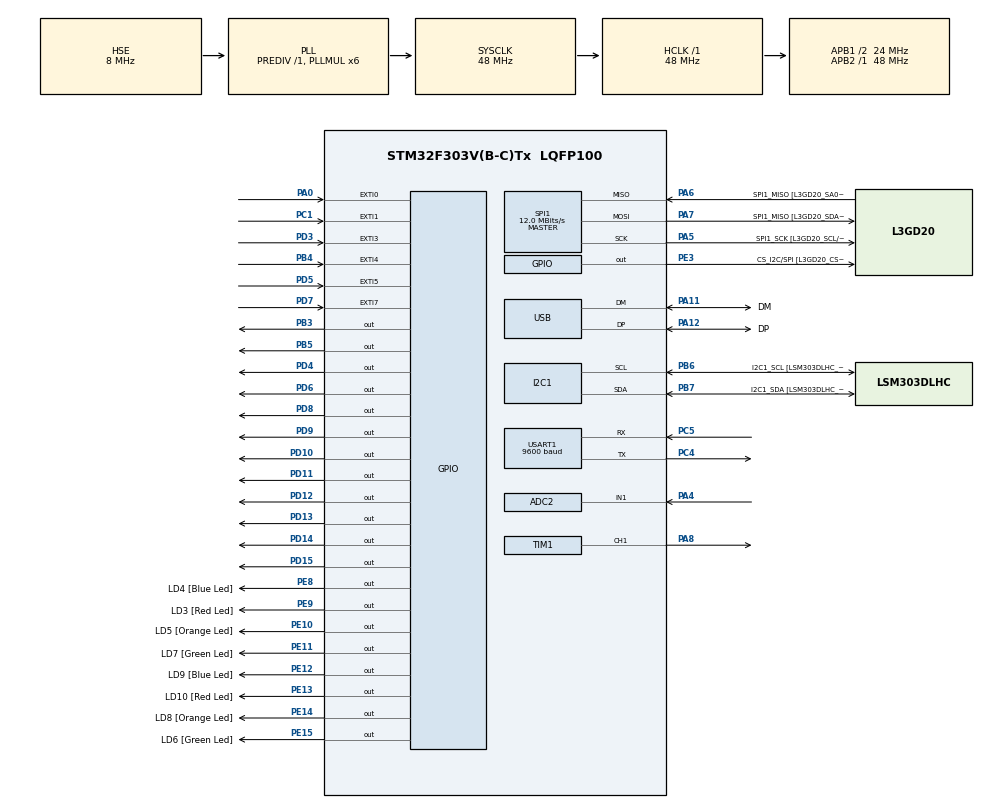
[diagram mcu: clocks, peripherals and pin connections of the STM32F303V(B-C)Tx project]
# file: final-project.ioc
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ADC2.Channel-0\#ChannelRegularConversion=ADC_CHANNEL_1
ADC2.NbrOfConversionFlag=1
ADC2.Offset-0\#ChannelRegularConversion=0
ADC2.OffsetNumber-0\#ChannelRegularConversion=ADC_OFFSET_NONE
ADC2.Rank-0\#ChannelRegularConversion=1
ADC2.SamplingTime-0\#ChannelRegularConversion=ADC_SAMPLETIME_601CYCLES_5
ADC2.SamplingTimeOPAMP-0\#ChannelRegularConversion=ADC_SAMPLETIME_19CYCLES_5
FREERTOS.Tasks01=task_temp,24,128,StartDefaultTask,Default,NULL,Dynamic,NULL,NULL;task_keypad,24,128,StartTask02,Default,NULL,Dynamic,NULL,NULL;task_on,40,128,StartTask03,Default,NULL,Dynamic,NULL,NULL;task_off,32,128,StartTask04,Default,NULL,Dynamic,NULL,NULL;task_sec,32,128,StartTask05,Default,NULL,Dynamic,NULL,NULL
FREERTOS.configTOTAL_HEAP_SIZE=4072
FREERTOS.configUSE_PREEMPTION=1
I2C1.Timing=0x2000090E
I2C1.Timing-I2C=0x2000090E
Mcu.Family=STM32F3
Mcu.Name=STM32F303V(B-C)Tx
Mcu.Package=LQFP100
NVIC.ADC1_2_IRQn=true\:5\:0\:false\:false\:true\:true\:true\:true\:true
NVIC.EXTI0_IRQn=true\:5\:0\:false\:false\:true\:true\:true\:true\:true
NVIC.EXTI1_IRQn=true\:5\:0\:false\:false\:true\:true\:true\:true\:true
NVIC.EXTI3_IRQn=true\:5\:0\:false\:false\:true\:true\:true\:true\:true
NVIC.EXTI4_IRQn=true\:5\:0\:false\:false\:true\:true\:true\:true\:true
NVIC.EXTI9_5_IRQn=true\:5\:0\:false\:false\:true\:true\:true\:true\:true
NVIC.PriorityGroup=NVIC_PRIORITYGROUP_4
NVIC.TIM6_DAC_IRQn=true\:15\:0\:false\:false\:true\:false\:false\:true\:true
NVIC.TimeBase=TIM6_DAC_IRQn
NVIC.TimeBaseIP=TIM6
NVIC.USART1_IRQn=true\:5\:0\:false\:false\:true\:true\:true\:true\:true
PA0.Signal=GPXTI0
PA11.GPIO_Label=DM
PA11.Mode=Device
PA11.Signal=USB_DM
PA12.GPIO_Label=DP
PA12.Mode=Device
PA12.Signal=USB_DP
PA13.GPIO_Label=SWDIO
PA13.Mode=Serial_Wire
PA13.Signal=SYS_JTMS-SWDIO
PA14.GPIO_Label=SWCLK
PA14.Mode=Serial_Wire
PA14.Signal=SYS_JTCK-SWCLK
PA4.Mode=IN1-Single-Ended
PA4.Signal=ADC2_IN1
PA5.GPIO_Label=SPI1_SCK [L3GD20_SCL/SPC]
PA5.Mode=Full_Duplex_Master
PA5.Signal=SPI1_SCK
PA6.GPIO_Label=SPI1_MISO [L3GD20_SA0/SDO]
PA6.Mode=Full_Duplex_Master
PA6.Signal=SPI1_MISO
PA7.GPIO_Label=SPI1_MISO [L3GD20_SDA/SDI/SDO]
PA7.Mode=Full_Duplex_Master
PA7.Signal=SPI1_MOSI
PA8.Signal=S_TIM1_CH1
PB3.PinState=GPIO_PIN_SET
PB3.Signal=GPIO_Output
PB4.GPIO_PuPd=GPIO_PULLDOWN
PB4.Signal=GPXTI4
PB5.PinState=GPIO_PIN_SET
PB5.Signal=GPIO_Output
PB6.GPIO_Label=I2C1_SCL [LSM303DLHC_SCL]
PB6.GPIO_Pu=GPIO_PULLUP
PB6.Mode=I2C
PB6.Signal=I2C1_SCL
PB7.GPIO_Label=I2C1_SDA [LSM303DLHC_SDA]
PB7.GPIO_Pu=GPIO_PULLUP
PB7.Mode=I2C
PB7.Signal=I2C1_SDA
PC1.Signal=GPXTI1
PC14-OSC32_IN.GPIO_Label=OSC32_IN
PC14-OSC32_IN.Signal=RCC_OSC32_IN
PC15-OSC32_OUT.GPIO_Label=OSC32_OUT
PC15-OSC32_OUT.Signal=RCC_OSC32_OUT
PC4.Mode=Asynchronous
PC4.Signal=USART1_TX
PC5.Mode=Asynchronous
PC5.Signal=USART1_RX
PD10.Signal=GPIO_Output
PD11.Signal=GPIO_Output
PD12.Signal=GPIO_Output
PD13.Signal=GPIO_Output
PD14.Signal=GPIO_Output
PD15.Signal=GPIO_Output
PD3.GPIO_PuPd=GPIO_PULLDOWN
PD3.Signal=GPXTI3
PD4.PinState=GPIO_PIN_SET
PD4.Signal=GPIO_Output
PD5.GPIO_PuPd=GPIO_PULLDOWN
PD5.Signal=GPXTI5
PD6.PinState=GPIO_PIN_SET
PD6.Signal=GPIO_Output
PD7.GPIO_PuPd=GPIO_PULLDOWN
PD7.Signal=GPXTI7
PD8.Signal=GPIO_Output
PD9.Signal=GPIO_Output
PE10.GPIO_Label=LD5 [Orange Led]
PE10.Signal=GPIO_Output
PE11.GPIO_Label=LD7 [Green Led]
PE11.Signal=GPIO_Output
PE12.GPIO_Label=LD9 [Blue Led]
PE12.Signal=GPIO_Output
PE13.GPIO_Label=LD10 [Red Led]
PE13.Signal=GPIO_Output
PE14.GPIO_Label=LD8 [Orange Led]
PE14.Signal=GPIO_Output
PE15.GPIO_Label=LD6 [Green Led]
PE15.Signal=GPIO_Output
PE3.GPIO_Label=CS_I2C/SPI [L3GD20_CS_I2C/SPI]
PE3.Signal=GPIO_Output
PE8.GPIO_Label=LD4 [Blue Led]
PE8.Signal=GPIO_Output
PE9.GPIO_Label=LD3 [Red Led]
PE9.Signal=GPIO_Output
PF0-OSC_IN.GPIO_Label=OSC_IN
PF0-OSC_IN.Mode=HSE-External-Clock-Source
PF0-OSC_IN.Signal=RCC_OSC_IN
PF1-OSC_OUT.GPIO_Label=OSC_OUT
PF1-OSC_OUT.Signal=RCC_OSC_OUT
ProjectManager.HeapSize=0x200
ProjectManager.StackSize=0x400
ProjectManager.TargetToolchain=STM32CubeIDE
RCC.AHBFreq_Value=48000000
RCC.APB1CLKDivider=RCC_HCLK_DIV2
RCC.APB1Freq_Value=24000000
RCC.APB1TimFreq_Value=48000000
RCC.APB2Freq_Value=48000000
RCC.APB2TimFreq_Value=48000000
RCC.CortexFreq_Value=48000000
RCC.HCLKFreq_Value=48000000
RCC.HSE_VALUE=8000000
RCC.HSI_VALUE=8000000
RCC.LSE_VALUE=32768
RCC.PLLMUL=RCC_PLL_MUL6
RCC.SYSCLKFreq_VALUE=48000000
RCC.SYSCLKSourceVirtual=RCC_SYSCLKSOURCE_PLLCLK
RCC.USBFreq_Value=48000000
SH.S_TIM1_CH1.0=TIM1_CH1,PWM Generation1 CH1
SPI1.BaudRatePrescaler=SPI_BAUDRATEPRESCALER_4
SPI1.BaudRatePrescaler-Full_Duplex_Master=SPI_BAUDRATEPRESCALER_2
SPI1.CalculateBaudRate=12.0 MBits/s
SPI1.CalculateBaudRate-Full_Duplex_Master=24.0 MBits/s
SPI1.Direction=SPI_DIRECTION_2LINES
SPI1.Mode=SPI_MODE_MASTER
SPI1.Mode-Full_Duplex_Master=SPI_MODE_MASTER
SPI1.VirtualType=VM_MASTER
TIM1.Channel-PWM\ Generation1\ CH1=TIM_CHANNEL_1
USART1.BaudRate=9600
USART1.VirtualMode-Asynchronous=VM_ASYNC
VP_FREERTOS_VS_CMSIS_V2.Mode=CMSIS_V2
VP_SYS_VS_tim6.Mode=TIM6
VP_TIM1_VS_ClockSourceINT.Mode=Internal
board=STM32F3DISCOVERY

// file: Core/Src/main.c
/* USER CODE BEGIN Header */
/**
 ******************************************************************************
 * @file           : main.c
 * @brief          : Main program body
 ******************************************************************************
 * @attention
 *
 * Copyright (c) 2023 STMicroelectronics.
 * All rights reserved.
 *
 * This software is licensed under terms that can be found in the LICENSE file
 * in the root directory of this software component.
 * If no LICENSE file comes with this software, it is provided AS-IS.
 *
 ******************************************************************************
 */
/* USER CODE END Header */
#include "main.h"
#include "cmsis_os.h"

/* USER CODE BEGIN Includes */
#include "program.h"
#include "semphr.h"
#include "LiquidCrystal.h"
#include "buzzer.h"
#include "task.h"
#include "uart.h"
#define LONG_TIME 0xffff
#define TICKS_TO_WAIT    10
/* USER CODE END Includes */

ADC_HandleTypeDef hadc2;

I2C_HandleTypeDef hi2c1;

SPI_HandleTypeDef hspi1;

TIM_HandleTypeDef htim1;

UART_HandleTypeDef huart1;

PCD_HandleTypeDef hpcd_USB_FS;

/* Definitions for task_temp */
osThreadId_t task_tempHandle;
const osThreadAttr_t task_temp_attributes = {
  .name = "task_temp",
  .stack_size = 128 * 4,
  .priority = (osPriority_t) osPriorityNormal,
};
/* Definitions for task_keypad */
osThreadId_t task_keypadHandle;
const osThreadAttr_t task_keypad_attributes = {
  .name = "task_keypad",
  .stack_size = 128 * 4,
  .priority = (osPriority_t) osPriorityNormal,
};
/* Definitions for task_on */
osThreadId_t task_onHandle;
const osThreadAttr_t task_on_attributes = {
  .name = "task_on",
  .stack_size = 128 * 4,
  .priority = (osPriority_t) osPriorityHigh,
};
/* Definitions for task_off */
osThreadId_t task_offHandle;
const osThreadAttr_t task_off_attributes = {
  .name = "task_off",
  .stack_size = 128 * 4,
  .priority = (osPriority_t) osPriorityAboveNormal,
};
/* Definitions for task_sec */
osThreadId_t task_secHandle;
const osThreadAttr_t task_sec_attributes = {
  .name = "task_sec",
  .stack_size = 128 * 4,
  .priority = (osPriority_t) osPriorityAboveNormal,
};
/* USER CODE BEGIN PV */
SemaphoreHandle_t sec_sem;
SemaphoreHandle_t keypad_sem;
SemaphoreHandle_t on_sem;
SemaphoreHandle_t off_sem;
int is_on = 0;
extern int volume;
extern LCD_state state;
extern unsigned char message;
extern char goodbye_msg[100];
extern char hello_msg[100];
/* USER CODE END PV */

void SystemClock_Config(void);
static void MX_GPIO_Init(void);
static void MX_I2C1_Init(void);
static void MX_SPI1_Init(void);
static void MX_USB_PCD_Init(void);
static void MX_TIM1_Init(void);
static void MX_ADC2_Init(void);
static void MX_USART1_UART_Init(void);
void StartDefaultTask(void *argument);
void StartTask02(void *argument);
void StartTask03(void *argument);
void StartTask04(void *argument);
void StartTask05(void *argument);

int main(void)
{

  /* MCU Configuration--------------------------------------------------------*/

  /* Reset of all peripherals, Initializes the Flash interface and the Systick. */
  HAL_Init();

  /* Configure the system clock */
  SystemClock_Config();

  /* Initialize all configured peripherals */
  MX_GPIO_Init();
  MX_I2C1_Init();
  MX_SPI1_Init();
  MX_USB_PCD_Init();
  MX_TIM1_Init();
  MX_ADC2_Init();
  MX_USART1_UART_Init();
  /* USER CODE BEGIN 2 */
	progarm_init();
	sec_sem = xSemaphoreCreateBinary();
	keypad_sem = xSemaphoreCreateBinary();
	on_sem = xSemaphoreCreateBinary();
	off_sem = xSemaphoreCreateBinary();
	HAL_ADC_Start(&hadc2);
    HAL_UART_Receive_IT(&huart1, &message, 10);

  /* USER CODE END 2 */

  /* Init scheduler */
  osKernelInitialize();

  /* Create the thread(s) */
  /* creation of task_temp */
  task_tempHandle = osThreadNew(StartDefaultTask, NULL, &task_temp_attributes);

  /* creation of task_keypad */
  task_keypadHandle = osThreadNew(StartTask02, NULL, &task_keypad_attributes);

  /* creation of task_on */
  task_onHandle = osThreadNew(StartTask03, NULL, &task_on_attributes);

  /* creation of task_off */
  task_offHandle = osThreadNew(StartTask04, NULL, &task_off_attributes);

  /* creation of task_sec */
  task_secHandle = osThreadNew(StartTask05, NULL, &task_sec_attributes);

  /* Start scheduler */
  osKernelStart();

  /* We should never get here as control is now taken by the scheduler */
  /* Infinite loop */
	while (1) {

	}
}

void SystemClock_Config(void)
{
  RCC_OscInitTypeDef RCC_OscInitStruct = {0};
  RCC_ClkInitTypeDef RCC_ClkInitStruct = {0};
  RCC_PeriphCLKInitTypeDef PeriphClkInit = {0};

  /** Initializes the RCC Oscillators according to the specified parameters
  * in the RCC_OscInitTypeDef structure.
  */
  RCC_OscInitStruct.OscillatorType = RCC_OSCILLATORTYPE_HSI|RCC_OSCILLATORTYPE_HSE;
  RCC_OscInitStruct.HSEState = RCC_HSE_BYPASS;
  RCC_OscInitStruct.HSEPredivValue = RCC_HSE_PREDIV_DIV1;
  RCC_OscInitStruct.HSIState = RCC_HSI_ON;
  RCC_OscInitStruct.HSICalibrationValue = RCC_HSICALIBRATION_DEFAULT;
  RCC_OscInitStruct.PLL.PLLState = RCC_PLL_ON;
  RCC_OscInitStruct.PLL.PLLSource = RCC_PLLSOURCE_HSE;
  RCC_OscInitStruct.PLL.PLLMUL = RCC_PLL_MUL6;
  if (HAL_RCC_OscConfig(&RCC_OscInitStruct) != HAL_OK)
  {
    Error_Handler();
  }

  /** Initializes the CPU, AHB and APB buses clocks
  */
  RCC_ClkInitStruct.ClockType = RCC_CLOCKTYPE_HCLK|RCC_CLOCKTYPE_SYSCLK
                              |RCC_CLOCKTYPE_PCLK1|RCC_CLOCKTYPE_PCLK2;
  RCC_ClkInitStruct.SYSCLKSource = RCC_SYSCLKSOURCE_PLLCLK;
  RCC_ClkInitStruct.AHBCLKDivider = RCC_SYSCLK_DIV1;
  RCC_ClkInitStruct.APB1CLKDivider = RCC_HCLK_DIV2;
  RCC_ClkInitStruct.APB2CLKDivider = RCC_HCLK_DIV1;

  if (HAL_RCC_ClockConfig(&RCC_ClkInitStruct, FLASH_LATENCY_1) != HAL_OK)
  {
    Error_Handler();
  }
  PeriphClkInit.PeriphClockSelection = RCC_PERIPHCLK_USB|RCC_PERIPHCLK_USART1
                              |RCC_PERIPHCLK_I2C1|RCC_PERIPHCLK_TIM1
                              |RCC_PERIPHCLK_ADC12;
  PeriphClkInit.Usart1ClockSelection = RCC_USART1CLKSOURCE_PCLK2;
  PeriphClkInit.Adc12ClockSelection = RCC_ADC12PLLCLK_DIV1;
  PeriphClkInit.I2c1ClockSelection = RCC_I2C1CLKSOURCE_HSI;
  PeriphClkInit.USBClockSelection = RCC_USBCLKSOURCE_PLL;
  PeriphClkInit.Tim1ClockSelection = RCC_TIM1CLK_HCLK;
  if (HAL_RCCEx_PeriphCLKConfig(&PeriphClkInit) != HAL_OK)
  {
    Error_Handler();
  }
}

static void MX_ADC2_Init(void)
{

  ADC_ChannelConfTypeDef sConfig = {0};

  /** Common config
  */
  hadc2.Instance = ADC2;
  hadc2.Init.ClockPrescaler = ADC_CLOCK_ASYNC_DIV1;
  hadc2.Init.Resolution = ADC_RESOLUTION_12B;
  hadc2.Init.ScanConvMode = ADC_SCAN_DISABLE;
  hadc2.Init.ContinuousConvMode = DISABLE;
  hadc2.Init.DiscontinuousConvMode = DISABLE;
  hadc2.Init.ExternalTrigConvEdge = ADC_EXTERNALTRIGCONVEDGE_NONE;
  hadc2.Init.ExternalTrigConv = ADC_SOFTWARE_START;
  hadc2.Init.DataAlign = ADC_DATAALIGN_RIGHT;
  hadc2.Init.NbrOfConversion = 1;
  hadc2.Init.DMAContinuousRequests = DISABLE;
  hadc2.Init.EOCSelection = ADC_EOC_SINGLE_CONV;
  hadc2.Init.LowPowerAutoWait = DISABLE;
  hadc2.Init.Overrun = ADC_OVR_DATA_OVERWRITTEN;
  if (HAL_ADC_Init(&hadc2) != HAL_OK)
  {
    Error_Handler();
  }

  /** Configure Regular Channel
  */
  sConfig.Channel = ADC_CHANNEL_1;
  sConfig.Rank = ADC_REGULAR_RANK_1;
  sConfig.SingleDiff = ADC_SINGLE_ENDED;
  sConfig.SamplingTime = ADC_SAMPLETIME_601CYCLES_5;
  sConfig.OffsetNumber = ADC_OFFSET_NONE;
  sConfig.Offset = 0;
  if (HAL_ADC_ConfigChannel(&hadc2, &sConfig) != HAL_OK)
  {
    Error_Handler();
  }

}

static void MX_I2C1_Init(void)
{

  hi2c1.Instance = I2C1;
  hi2c1.Init.Timing = 0x2000090E;
  hi2c1.Init.OwnAddress1 = 0;
  hi2c1.Init.AddressingMode = I2C_ADDRESSINGMODE_7BIT;
  hi2c1.Init.DualAddressMode = I2C_DUALADDRESS_DISABLE;
  hi2c1.Init.OwnAddress2 = 0;
  hi2c1.Init.OwnAddress2Masks = I2C_OA2_NOMASK;
  hi2c1.Init.GeneralCallMode = I2C_GENERALCALL_DISABLE;
  hi2c1.Init.NoStretchMode = I2C_NOSTRETCH_DISABLE;
  if (HAL_I2C_Init(&hi2c1) != HAL_OK)
  {
    Error_Handler();
  }

  /** Configure Analogue filter
  */
  if (HAL_I2CEx_ConfigAnalogFilter(&hi2c1, I2C_ANALOGFILTER_ENABLE) != HAL_OK)
  {
    Error_Handler();
  }

  /** Configure Digital filter
  */
  if (HAL_I2CEx_ConfigDigitalFilter(&hi2c1, 0) != HAL_OK)
  {
    Error_Handler();
  }

}

static void MX_SPI1_Init(void)
{

  /* SPI1 parameter configuration*/
  hspi1.Instance = SPI1;
  hspi1.Init.Mode = SPI_MODE_MASTER;
  hspi1.Init.Direction = SPI_DIRECTION_2LINES;
  hspi1.Init.DataSize = SPI_DATASIZE_4BIT;
  hspi1.Init.CLKPolarity = SPI_POLARITY_LOW;
  hspi1.Init.CLKPhase = SPI_PHASE_1EDGE;
  hspi1.Init.NSS = SPI_NSS_SOFT;
  hspi1.Init.BaudRatePrescaler = SPI_BAUDRATEPRESCALER_4;
  hspi1.Init.FirstBit = SPI_FIRSTBIT_MSB;
  hspi1.Init.TIMode = SPI_TIMODE_DISABLE;
  hspi1.Init.CRCCalculation = SPI_CRCCALCULATION_DISABLE;
  hspi1.Init.CRCPolynomial = 7;
  hspi1.Init.CRCLength = SPI_CRC_LENGTH_DATASIZE;
  hspi1.Init.NSSPMode = SPI_NSS_PULSE_ENABLE;
  if (HAL_SPI_Init(&hspi1) != HAL_OK)
  {
    Error_Handler();
  }

}

static void MX_TIM1_Init(void)
{

  TIM_ClockConfigTypeDef sClockSourceConfig = {0};
  TIM_MasterConfigTypeDef sMasterConfig = {0};
  TIM_OC_InitTypeDef sConfigOC = {0};
  TIM_BreakDeadTimeConfigTypeDef sBreakDeadTimeConfig = {0};

  htim1.Instance = TIM1;
  htim1.Init.Prescaler = 0;
  htim1.Init.CounterMode = TIM_COUNTERMODE_UP;
  htim1.Init.Period = 65535;
  htim1.Init.ClockDivision = TIM_CLOCKDIVISION_DIV1;
  htim1.Init.RepetitionCounter = 0;
  htim1.Init.AutoReloadPreload = TIM_AUTORELOAD_PRELOAD_DISABLE;
  if (HAL_TIM_Base_Init(&htim1) != HAL_OK)
  {
    Error_Handler();
  }
  sClockSourceConfig.ClockSource = TIM_CLOCKSOURCE_INTERNAL;
  if (HAL_TIM_ConfigClockSource(&htim1, &sClockSourceConfig) != HAL_OK)
  {
    Error_Handler();
  }
  if (HAL_TIM_PWM_Init(&htim1) != HAL_OK)
  {
    Error_Handler();
  }
  sMasterConfig.MasterOutputTrigger = TIM_TRGO_RESET;
  sMasterConfig.MasterOutputTrigger2 = TIM_TRGO2_RESET;
  sMasterConfig.MasterSlaveMode = TIM_MASTERSLAVEMODE_DISABLE;
  if (HAL_TIMEx_MasterConfigSynchronization(&htim1, &sMasterConfig) != HAL_OK)
  {
    Error_Handler();
  }
  sConfigOC.OCMode = TIM_OCMODE_PWM1;
  sConfigOC.Pulse = 0;
  sConfigOC.OCPolarity = TIM_OCPOLARITY_HIGH;
  sConfigOC.OCNPolarity = TIM_OCNPOLARITY_HIGH;
  sConfigOC.OCFastMode = TIM_OCFAST_DISABLE;
  sConfigOC.OCIdleState = TIM_OCIDLESTATE_RESET;
  sConfigOC.OCNIdleState = TIM_OCNIDLESTATE_RESET;
  if (HAL_TIM_PWM_ConfigChannel(&htim1, &sConfigOC, TIM_CHANNEL_1) != HAL_OK)
  {
    Error_Handler();
  }
  sBreakDeadTimeConfig.OffStateRunMode = TIM_OSSR_DISABLE;
  sBreakDeadTimeConfig.OffStateIDLEMode = TIM_OSSI_DISABLE;
  sBreakDeadTimeConfig.LockLevel = TIM_LOCKLEVEL_OFF;
  sBreakDeadTimeConfig.DeadTime = 0;
  sBreakDeadTimeConfig.BreakState = TIM_BREAK_DISABLE;
  sBreakDeadTimeConfig.BreakPolarity = TIM_BREAKPOLARITY_HIGH;
  sBreakDeadTimeConfig.BreakFilter = 0;
  sBreakDeadTimeConfig.Break2State = TIM_BREAK2_DISABLE;
  sBreakDeadTimeConfig.Break2Polarity = TIM_BREAK2POLARITY_HIGH;
  sBreakDeadTimeConfig.Break2Filter = 0;
  sBreakDeadTimeConfig.AutomaticOutput = TIM_AUTOMATICOUTPUT_DISABLE;
  if (HAL_TIMEx_ConfigBreakDeadTime(&htim1, &sBreakDeadTimeConfig) != HAL_OK)
  {
    Error_Handler();
  }
  HAL_TIM_MspPostInit(&htim1);

}

static void MX_USART1_UART_Init(void)
{

  huart1.Instance = USART1;
  huart1.Init.BaudRate = 9600;
  huart1.Init.WordLength = UART_WORDLENGTH_8B;
  huart1.Init.StopBits = UART_STOPBITS_1;
  huart1.Init.Parity = UART_PARITY_NONE;
  huart1.Init.Mode = UART_MODE_TX_RX;
  huart1.Init.HwFlowCtl = UART_HWCONTROL_NONE;
  huart1.Init.OverSampling = UART_OVERSAMPLING_16;
  huart1.Init.OneBitSampling = UART_ONE_BIT_SAMPLE_DISABLE;
  huart1.AdvancedInit.AdvFeatureInit = UART_ADVFEATURE_NO_INIT;
  if (HAL_UART_Init(&huart1) != HAL_OK)
  {
    Error_Handler();
  }

}

static void MX_USB_PCD_Init(void)
{

  hpcd_USB_FS.Instance = USB;
  hpcd_USB_FS.Init.dev_endpoints = 8;
  hpcd_USB_FS.Init.speed = PCD_SPEED_FULL;
  hpcd_USB_FS.Init.phy_itface = PCD_PHY_EMBEDDED;
  hpcd_USB_FS.Init.low_power_enable = DISABLE;
  hpcd_USB_FS.Init.battery_charging_enable = DISABLE;
  if (HAL_PCD_Init(&hpcd_USB_FS) != HAL_OK)
  {
    Error_Handler();
  }

}

static void MX_GPIO_Init(void)
{
  GPIO_InitTypeDef GPIO_InitStruct = {0};

  /* GPIO Ports Clock Enable */
  __HAL_RCC_GPIOE_CLK_ENABLE();
  __HAL_RCC_GPIOC_CLK_ENABLE();
  __HAL_RCC_GPIOF_CLK_ENABLE();
  __HAL_RCC_GPIOA_CLK_ENABLE();
  __HAL_RCC_GPIOD_CLK_ENABLE();
  __HAL_RCC_GPIOB_CLK_ENABLE();

  /*Configure GPIO pin Output Level */
  HAL_GPIO_WritePin(GPIOE, CS_I2C_SPI_Pin|LD4_Pin|LD3_Pin|LD5_Pin
                          |LD7_Pin|LD9_Pin|LD10_Pin|LD8_Pin
                          |LD6_Pin, GPIO_PIN_RESET);

  /*Configure GPIO pin Output Level */
  HAL_GPIO_WritePin(GPIOD, GPIO_PIN_8|GPIO_PIN_9|GPIO_PIN_10|GPIO_PIN_11
                          |GPIO_PIN_12|GPIO_PIN_13|GPIO_PIN_14|GPIO_PIN_15, GPIO_PIN_RESET);

  /*Configure GPIO pin Output Level */
  HAL_GPIO_WritePin(GPIOD, GPIO_PIN_4|GPIO_PIN_6, GPIO_PIN_SET);

  /*Configure GPIO pin Output Level */
  HAL_GPIO_WritePin(GPIOB, GPIO_PIN_3|GPIO_PIN_5, GPIO_PIN_SET);

  /*Configure GPIO pins : CS_I2C_SPI_Pin LD4_Pin LD3_Pin LD5_Pin
                           LD7_Pin LD9_Pin LD10_Pin LD8_Pin
                           LD6_Pin */
  GPIO_InitStruct.Pin = CS_I2C_SPI_Pin|LD4_Pin|LD3_Pin|LD5_Pin
                          |LD7_Pin|LD9_Pin|LD10_Pin|LD8_Pin
                          |LD6_Pin;
  GPIO_InitStruct.Mode = GPIO_MODE_OUTPUT_PP;
  GPIO_InitStruct.Pull = GPIO_NOPULL;
  GPIO_InitStruct.Speed = GPIO_SPEED_FREQ_LOW;
  HAL_GPIO_Init(GPIOE, &GPIO_InitStruct);

  /*Configure GPIO pin : PC1 */
  GPIO_InitStruct.Pin = GPIO_PIN_1;
  GPIO_InitStruct.Mode = GPIO_MODE_IT_RISING;
  GPIO_InitStruct.Pull = GPIO_NOPULL;
  HAL_GPIO_Init(GPIOC, &GPIO_InitStruct);

  /*Configure GPIO pin : PA0 */
  GPIO_InitStruct.Pin = GPIO_PIN_0;
  GPIO_InitStruct.Mode = GPIO_MODE_IT_RISING;
  GPIO_InitStruct.Pull = GPIO_NOPULL;
  HAL_GPIO_Init(GPIOA, &GPIO_InitStruct);

  /*Configure GPIO pins : PD8 PD9 PD10 PD11
                           PD12 PD13 PD14 PD15
                           PD4 PD6 */
  GPIO_InitStruct.Pin = GPIO_PIN_8|GPIO_PIN_9|GPIO_PIN_10|GPIO_PIN_11
                          |GPIO_PIN_12|GPIO_PIN_13|GPIO_PIN_14|GPIO_PIN_15
                          |GPIO_PIN_4|GPIO_PIN_6;
  GPIO_InitStruct.Mode = GPIO_MODE_OUTPUT_PP;
  GPIO_InitStruct.Pull = GPIO_NOPULL;
  GPIO_InitStruct.Speed = GPIO_SPEED_FREQ_LOW;
  HAL_GPIO_Init(GPIOD, &GPIO_InitStruct);

  /*Configure GPIO pins : PD3 PD5 PD7 */
  GPIO_InitStruct.Pin = GPIO_PIN_3|GPIO_PIN_5|GPIO_PIN_7;
  GPIO_InitStruct.Mode = GPIO_MODE_IT_RISING;
  GPIO_InitStruct.Pull = GPIO_PULLDOWN;
  HAL_GPIO_Init(GPIOD, &GPIO_InitStruct);

  /*Configure GPIO pins : PB3 PB5 */
  GPIO_InitStruct.Pin = GPIO_PIN_3|GPIO_PIN_5;
  GPIO_InitStruct.Mode = GPIO_MODE_OUTPUT_PP;
  GPIO_InitStruct.Pull = GPIO_NOPULL;
  GPIO_InitStruct.Speed = GPIO_SPEED_FREQ_LOW;
  HAL_GPIO_Init(GPIOB, &GPIO_InitStruct);

  /*Configure GPIO pin : PB4 */
  GPIO_InitStruct.Pin = GPIO_PIN_4;
  GPIO_InitStruct.Mode = GPIO_MODE_IT_RISING;
  GPIO_InitStruct.Pull = GPIO_PULLDOWN;
  HAL_GPIO_Init(GPIOB, &GPIO_InitStruct);

  /* EXTI interrupt init*/
  HAL_NVIC_SetPriority(EXTI0_IRQn, 5, 0);
  HAL_NVIC_EnableIRQ(EXTI0_IRQn);

  HAL_NVIC_SetPriority(EXTI1_IRQn, 5, 0);
  HAL_NVIC_EnableIRQ(EXTI1_IRQn);

  HAL_NVIC_SetPriority(EXTI3_IRQn, 5, 0);
  HAL_NVIC_EnableIRQ(EXTI3_IRQn);

  HAL_NVIC_SetPriority(EXTI4_IRQn, 5, 0);
  HAL_NVIC_EnableIRQ(EXTI4_IRQn);

  HAL_NVIC_SetPriority(EXTI9_5_IRQn, 5, 0);
  HAL_NVIC_EnableIRQ(EXTI9_5_IRQn);

}

void StartDefaultTask(void *argument)
{
  /* USER CODE BEGIN 5 */
	/* Infinite loop */
	//tepm handling
	LiquidCrystal(GPIOD, GPIO_PIN_8, GPIO_PIN_9, GPIO_PIN_10,
	GPIO_PIN_11, GPIO_PIN_12, GPIO_PIN_13, GPIO_PIN_14);
	begin(20, 4);
	clear();
	osDelay(2000);
	for (;;) {
		if (is_on) {
			tempretur_handle();
		}
		osDelay(200);
	}
  /* USER CODE END 5 */
}

void StartTask02(void *argument)
{
  /* USER CODE BEGIN StartTask02 */
	/* Infinite loop */
	osDelay(1000);
	for (;;) {
		if ((xSemaphoreTake(keypad_sem, LONG_TIME) == pdTRUE) && is_on) {
			update_state();
		}
	}
  /* USER CODE END StartTask02 */
}

void StartTask03(void *argument)
{
  /* USER CODE BEGIN StartTask03 */
	/* Infinite loop */
	osDelay(1000);
	for (;;) {
		if ( xSemaphoreTake(on_sem, LONG_TIME ) == pdTRUE) {
//			taskENTER_CRITICAL();
			display();
			setCursor(5, 2);
			clear();
			print(hello_msg);
			Change_Melody();
			for (int i = 0; i < 6000; i++) {
				Update_Melody();
				if (i % 300 == 0 && i < 3000) {
					scrollDisplayRight();
				}
				if (i % 300 == 0 && i > 3000) {
					scrollDisplayLeft();
				}
				osDelay(1);
			}
			buzzerChangeTone(0, 0);
			state = main_menu;
			update_lcd();
			is_on = 1;
      log_uart("system turns on");
//			taskEXIT_CRITICAL();
		}
	}
  /* USER CODE END StartTask03 */
}

void StartTask04(void *argument)
{
  /* USER CODE BEGIN StartTask04 */
	/* Infinite loop */
	osDelay(1000);
	for (;;) {
		if (xSemaphoreTake(off_sem, LONG_TIME) == pdTRUE) {
//			taskENTER_CRITICAL();
			is_on = 0;
			setCursor(5, 2);
			clear();
			print(goodbye_msg);
			Change_Melody();
			for (int i = 0; i < 6000; i++) {
				Update_Melody();
				if (i % 300 == 0 && i < 3000) {
					scrollDisplayRight();
				}
				if (i % 300 == 0 && i > 3000) {
					scrollDisplayLeft();
				}
				osDelay(1);
			}
      log_uart("system turns off");
			buzzerChangeTone(0, 0);
			noDisplay();
//			taskEXIT_CRITICAL();
		}
	}

  /* USER CODE END StartTask04 */
}

void StartTask05(void *argument)
{
  /* USER CODE BEGIN StartTask05 */
  /* Infinite loop */
	osDelay(1000);
	for (;;) {
		if ((xSemaphoreTake(sec_sem, LONG_TIME) == pdTRUE) && is_on) {
			sec_handel();
		}
  }
  /* USER CODE END StartTask05 */
}

void HAL_TIM_PeriodElapsedCallback(TIM_HandleTypeDef *htim)
{
  if (htim->Instance == TIM6) {
    HAL_IncTick();
  }
}

void Error_Handler(void)
{
	__disable_irq();
	while (1) {
	}
}
